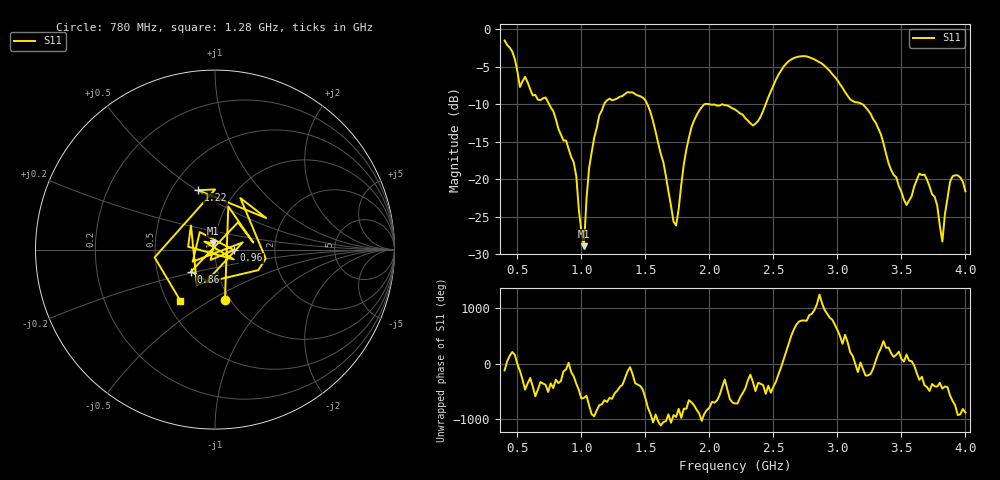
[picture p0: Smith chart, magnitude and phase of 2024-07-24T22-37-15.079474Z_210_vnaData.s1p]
!Created with skrf (http://scikit-rf.org).
# Hz S RI R 50.0
!freq ReS11 ImS11
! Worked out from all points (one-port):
!   181 points, 400 MHz to 4 GHz, reference 50 ohm
!   lowest |S11| = -28.9 dB at 1.02 GHz (marker M1), VSWR 1.07, Z = 48.9 + j3.37 ohm
!   |S11| at or under -10 dB: 1.514 GHz to 1.968 GHz (453.6 MHz wide, 26.1 % of centre); 1.993 GHz to 2.44 GHz (446.5 MHz wide, 20.1 % of centre); 3.193 GHz to end of sweep (the widest 3 of 4)
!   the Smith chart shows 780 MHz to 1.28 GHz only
!   S11 on the Smith chart (normalised r, x): 780 MHz: 0.95, -0.57; 860 MHz: 0.74, -0.19; 960 MHz: 1.23, -0.01; 1.22 GHz: 0.68, +0.51; 1.28 GHz: 0.59, -0.38
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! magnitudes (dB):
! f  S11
! 400 MHz  -1.5
! 520 MHz  -7.7
! 780 MHz  -10.9
! 860 MHz  -14.9
! 960 MHz  -19.6
! 1.02 GHz  -28.9
! 1.06 GHz  -18.5
! 1.1 GHz  -14.5
! 1.22 GHz  -9.3
! 1.28 GHz  -9.2
! 1.3 GHz  -9.0
! 1.5 GHz  -9.5
! 1.64 GHz  -17.7
! 1.72 GHz  -25.7
! 1.76 GHz  -24.0
! 1.82 GHz  -16.0
! 1.92 GHz  -10.9
! 2.2 GHz  -10.7
! 2.36 GHz  -12.6
! 2.66 GHz  -3.9
! 3.1 GHz  -9.4
! 3.26 GHz  -11.3
! 3.56 GHz  -22.9
! 3.68 GHz  -19.4
! 3.78 GHz  -23.5
! 3.82 GHz  -28.3
! 3.9 GHz  -19.6
! 4 GHz  -21.6
